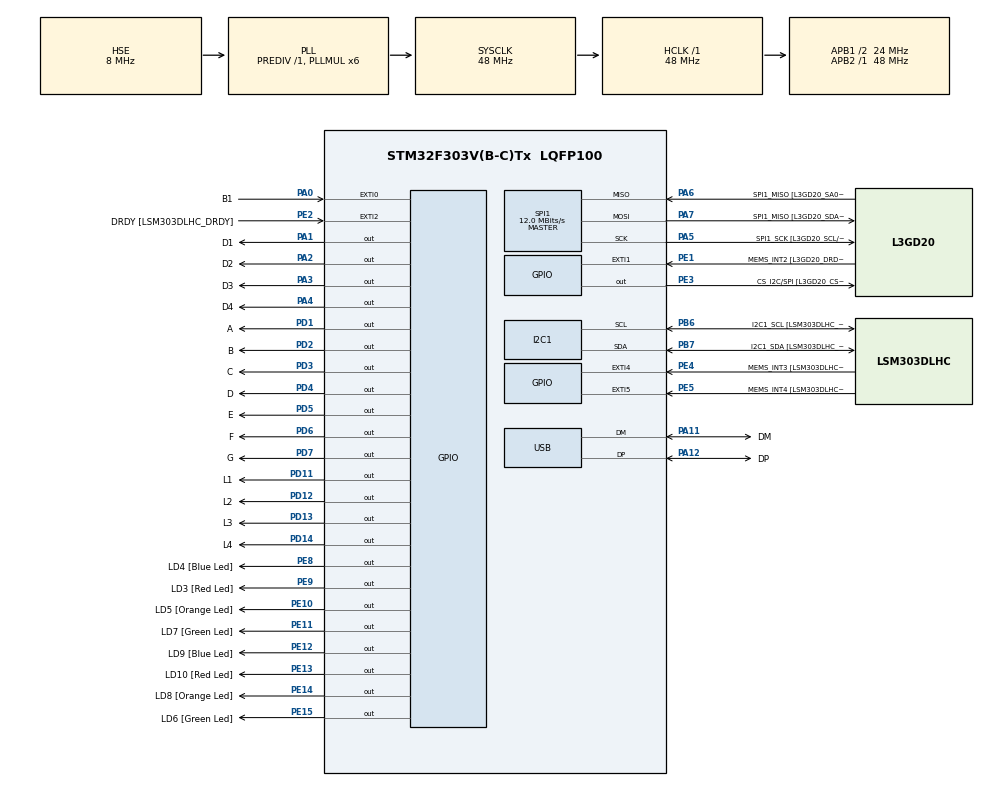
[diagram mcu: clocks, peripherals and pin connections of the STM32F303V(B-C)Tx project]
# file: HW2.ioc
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I2C1.Timing=0x2000090E
I2C1.Timing-I2C=0x2000090E
Mcu.Family=STM32F3
Mcu.Name=STM32F303V(B-C)Tx
Mcu.Package=LQFP100
NVIC.EXTI0_IRQn=true\:0\:0\:false\:false\:true\:true\:true\:true
NVIC.PriorityGroup=NVIC_PRIORITYGROUP_0
PA0.GPIO_Label=B1
PA0.GPIO_PuPd=GPIO_PULLDOWN
PA0.Signal=GPXTI0
PA1.GPIO_Label=D1
PA1.Signal=GPIO_Output
PA11.GPIO_Label=DM
PA11.Mode=Device
PA11.Signal=USB_DM
PA12.GPIO_Label=DP
PA12.Mode=Device
PA12.Signal=USB_DP
PA13.GPIO_Label=SWDIO
PA13.Mode=Serial_Wire
PA13.Signal=SYS_JTMS-SWDIO
PA14.GPIO_Label=SWCLK
PA14.Mode=Serial_Wire
PA14.Signal=SYS_JTCK-SWCLK
PA2.GPIO_Label=D2
PA2.Signal=GPIO_Output
PA3.GPIO_Label=D3
PA3.Signal=GPIO_Output
PA4.GPIO_Label=D4
PA4.Signal=GPIO_Output
PA5.GPIO_Label=SPI1_SCK [L3GD20_SCL/SPC]
PA5.Mode=Full_Duplex_Master
PA5.Signal=SPI1_SCK
PA6.GPIO_Label=SPI1_MISO [L3GD20_SA0/SDO]
PA6.Mode=Full_Duplex_Master
PA6.Signal=SPI1_MISO
PA7.GPIO_Label=SPI1_MISO [L3GD20_SDA/SDI/SDO]
PA7.Mode=Full_Duplex_Master
PA7.Signal=SPI1_MOSI
PB3.GPIO_Label=SWO
PB3.Signal=SYS_JTDO-TRACESWO
PB6.GPIO_Label=I2C1_SCL [LSM303DLHC_SCL]
PB6.GPIO_Pu=GPIO_PULLUP
PB6.Mode=I2C
PB6.Signal=I2C1_SCL
PB7.GPIO_Label=I2C1_SDA [LSM303DLHC_SDA]
PB7.GPIO_Pu=GPIO_PULLUP
PB7.Mode=I2C
PB7.Signal=I2C1_SDA
PC14-OSC32_IN.GPIO_Label=OSC32_IN
PC14-OSC32_IN.Signal=RCC_OSC32_IN
PC15-OSC32_OUT.GPIO_Label=OSC32_OUT
PC15-OSC32_OUT.Signal=RCC_OSC32_OUT
PD1.GPIO_Label=A
PD1.Signal=GPIO_Output
PD11.GPIO_Label=L1
PD11.Signal=GPIO_Output
PD12.GPIO_Label=L2
PD12.Signal=GPIO_Output
PD13.GPIO_Label=L3
PD13.Signal=GPIO_Output
PD14.GPIO_Label=L4
PD14.Signal=GPIO_Output
PD2.GPIO_Label=B
PD2.Signal=GPIO_Output
PD3.GPIO_Label=C
PD3.Signal=GPIO_Output
PD4.GPIO_Label=D
PD4.Signal=GPIO_Output
PD5.GPIO_Label=E
PD5.Signal=GPIO_Output
PD6.GPIO_Label=F
PD6.Signal=GPIO_Output
PD7.GPIO_Label=G
PD7.Signal=GPIO_Output
PE1.GPIO_Label=MEMS_INT2 [L3GD20_DRDY/INT2]
PE1.GPIO_ModeDefaultEXTI=GPIO_MODE_EVT_RISING
PE1.Signal=GPXTI1
PE10.GPIO_Label=LD5 [Orange Led]
PE10.Signal=GPIO_Output
PE11.GPIO_Label=LD7 [Green Led]
PE11.Signal=GPIO_Output
PE12.GPIO_Label=LD9 [Blue Led]
PE12.Signal=GPIO_Output
PE13.GPIO_Label=LD10 [Red Led]
PE13.Signal=GPIO_Output
PE14.GPIO_Label=LD8 [Orange Led]
PE14.Signal=GPIO_Output
PE15.GPIO_Label=LD6 [Green Led]
PE15.Signal=GPIO_Output
PE2.GPIO_Label=DRDY [LSM303DLHC_DRDY]
PE2.GPIO_ModeDefaultEXTI=GPIO_MODE_EVT_RISING
PE2.Signal=GPXTI2
PE3.GPIO_Label=CS_I2C/SPI [L3GD20_CS_I2C/SPI]
PE3.Signal=GPIO_Output
PE4.GPIO_Label=MEMS_INT3 [LSM303DLHC_INT1]
PE4.GPIO_ModeDefaultEXTI=GPIO_MODE_EVT_RISING
PE4.Signal=GPXTI4
PE5.GPIO_Label=MEMS_INT4 [LSM303DLHC_INT2]
PE5.GPIO_ModeDefaultEXTI=GPIO_MODE_EVT_RISING
PE5.Signal=GPXTI5
PE8.GPIO_Label=LD4 [Blue Led]
PE8.Signal=GPIO_Output
PE9.GPIO_Label=LD3 [Red Led]
PE9.Signal=GPIO_Output
PF0-OSC_IN.GPIO_Label=OSC_IN
PF0-OSC_IN.Mode=HSE-External-Clock-Source
PF0-OSC_IN.Signal=RCC_OSC_IN
PF1-OSC_OUT.GPIO_Label=OSC_OUT
PF1-OSC_OUT.Signal=RCC_OSC_OUT
ProjectManager.HeapSize=0x200
ProjectManager.StackSize=0x400
ProjectManager.TargetToolchain=STM32CubeIDE
RCC.AHBFreq_Value=48000000
RCC.APB1CLKDivider=RCC_HCLK_DIV2
RCC.APB1Freq_Value=24000000
RCC.APB1TimFreq_Value=48000000
RCC.APB2Freq_Value=48000000
RCC.APB2TimFreq_Value=48000000
RCC.CortexFreq_Value=48000000
RCC.HCLKFreq_Value=48000000
RCC.HSE_VALUE=8000000
RCC.HSI_VALUE=8000000
RCC.LSE_VALUE=32768
RCC.PLLMUL=RCC_PLL_MUL6
RCC.SYSCLKFreq_VALUE=48000000
RCC.SYSCLKSourceVirtual=RCC_SYSCLKSOURCE_PLLCLK
RCC.USBFreq_Value=48000000
SPI1.BaudRatePrescaler=SPI_BAUDRATEPRESCALER_4
SPI1.BaudRatePrescaler-Full_Duplex_Master=SPI_BAUDRATEPRESCALER_2
SPI1.CalculateBaudRate=12.0 MBits/s
SPI1.CalculateBaudRate-Full_Duplex_Master=24.0 MBits/s
SPI1.Direction=SPI_DIRECTION_2LINES
SPI1.Mode=SPI_MODE_MASTER
SPI1.Mode-Full_Duplex_Master=SPI_MODE_MASTER
SPI1.VirtualType=VM_MASTER
board=STM32F3DISCOVERY

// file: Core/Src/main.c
/* USER CODE BEGIN Header */
/**
  ******************************************************************************
  * @file           : main.c
  * @brief          : Main program body
  ******************************************************************************
  * @attention
  *
  * Copyright (c) 2023 STMicroelectronics.
  * All rights reserved.
  *
  * This software is licensed under terms that can be found in the LICENSE file
  * in the root directory of this software component.
  * If no LICENSE file comes with this software, it is provided AS-IS.
  *
  ******************************************************************************
  */
/* USER CODE END Header */
#include "main.h"

I2C_HandleTypeDef hi2c1;

SPI_HandleTypeDef hspi1;

PCD_HandleTypeDef hpcd_USB_FS;

/* USER CODE BEGIN PV */
int num = 0;
/* USER CODE END PV */

void SystemClock_Config(void);
static void MX_GPIO_Init(void);
static void MX_I2C1_Init(void);
static void MX_SPI1_Init(void);
static void MX_USB_PCD_Init(void);

int main(void)
{

  /* MCU Configuration--------------------------------------------------------*/

  /* Reset of all peripherals, Initializes the Flash interface and the Systick. */
  HAL_Init();

  /* Configure the system clock */
  SystemClock_Config();

  /* Initialize all configured peripherals */
  MX_GPIO_Init();
  MX_I2C1_Init();
  MX_SPI1_Init();
  MX_USB_PCD_Init();
  /* USER CODE BEGIN 2 */
 // uint16_t LED[] = {LD3_Pin,LD4_Pin,LD5_Pin,LD6_Pin,LD7_Pin,LD8_Pin,LD9_Pin,LD10_Pin,NULL};
  //uint16_t LEDC[] = {LD3_Pin,LD4_Pin,LD6_Pin,LD8_Pin,LD10_Pin,LD9_Pin,LD7_Pin,LD5_Pin,NULL};

  uint16_t LED_ALL = LD3_Pin | LD4_Pin | LD6_Pin | LD8_Pin | LD10_Pin | LD9_Pin | LD7_Pin |LD5_Pin;
  uint16_t LED_HALF = LD3_Pin | LD6_Pin  | LD10_Pin | LD7_Pin ;

  /* USER CODE END 2 */

  /* Infinite loop */
  /* USER CODE BEGIN WHILE */
  while (1)
  {
	  int n1 = num / 10 ;
	  int n2 = num % 10 ;
	  int n3 = (n1 * n2) / 10 ;
	  int n4 = (n1 * n2) % 10 ;
	  int re = num % 4 ;

	  // n1
	  HAL_GPIO_WritePin(GPIOA, D1_Pin, GPIO_PIN_RESET);
	  HAL_GPIO_WritePin(GPIOA, D2_Pin | D3_Pin | D4_Pin, GPIO_PIN_SET);
	  seg(n1);
	  HAL_Delay(5);
	  // n2
	  HAL_GPIO_WritePin(GPIOA, D2_Pin, GPIO_PIN_RESET);
	  HAL_GPIO_WritePin(GPIOA, D1_Pin | D3_Pin | D4_Pin, GPIO_PIN_SET);
	  seg(n2);
	  HAL_Delay(5);
	  // n3
	  HAL_GPIO_WritePin(GPIOA, D3_Pin, GPIO_PIN_RESET);
	  HAL_GPIO_WritePin(GPIOA, D1_Pin | D2_Pin | D4_Pin, GPIO_PIN_SET);
	  seg(n3);
	  HAL_Delay(5);
	  // n4
	  HAL_GPIO_WritePin(GPIOA, D4_Pin, GPIO_PIN_RESET);
	  HAL_GPIO_WritePin(GPIOA, D1_Pin | D2_Pin | D3_Pin, GPIO_PIN_SET);
	  seg(n4);
	  HAL_Delay(5);

	    switch(re) {
	      case 0:
	        HAL_GPIO_WritePin(GPIOD, L1_Pin, GPIO_PIN_SET);
	        HAL_GPIO_WritePin(GPIOD, L2_Pin | L3_Pin | L4_Pin, GPIO_PIN_RESET);
	        break;
	      case 1:
	        HAL_GPIO_WritePin(GPIOD, L2_Pin, GPIO_PIN_SET);
	        HAL_GPIO_WritePin(GPIOD, L1_Pin | L3_Pin | L4_Pin, GPIO_PIN_RESET);
	        break;
	      case 2:
	        HAL_GPIO_WritePin(GPIOD, L3_Pin, GPIO_PIN_SET);
	        HAL_GPIO_WritePin(GPIOD, L1_Pin | L2_Pin | L4_Pin, GPIO_PIN_RESET);
	        break;
	      case 3:
	        HAL_GPIO_WritePin(GPIOD, L4_Pin, GPIO_PIN_SET);
	        HAL_GPIO_WritePin(GPIOD, L1_Pin | L2_Pin | L3_Pin, GPIO_PIN_RESET);
	        break;
	    }
    /* USER CODE END WHILE */

  }
}

void SystemClock_Config(void)
{
  RCC_OscInitTypeDef RCC_OscInitStruct = {0};
  RCC_ClkInitTypeDef RCC_ClkInitStruct = {0};
  RCC_PeriphCLKInitTypeDef PeriphClkInit = {0};

  /** Initializes the RCC Oscillators according to the specified parameters
  * in the RCC_OscInitTypeDef structure.
  */
  RCC_OscInitStruct.OscillatorType = RCC_OSCILLATORTYPE_HSI|RCC_OSCILLATORTYPE_HSE;
  RCC_OscInitStruct.HSEState = RCC_HSE_BYPASS;
  RCC_OscInitStruct.HSEPredivValue = RCC_HSE_PREDIV_DIV1;
  RCC_OscInitStruct.HSIState = RCC_HSI_ON;
  RCC_OscInitStruct.HSICalibrationValue = RCC_HSICALIBRATION_DEFAULT;
  RCC_OscInitStruct.PLL.PLLState = RCC_PLL_ON;
  RCC_OscInitStruct.PLL.PLLSource = RCC_PLLSOURCE_HSE;
  RCC_OscInitStruct.PLL.PLLMUL = RCC_PLL_MUL6;
  if (HAL_RCC_OscConfig(&RCC_OscInitStruct) != HAL_OK)
  {
    Error_Handler();
  }

  /** Initializes the CPU, AHB and APB buses clocks
  */
  RCC_ClkInitStruct.ClockType = RCC_CLOCKTYPE_HCLK|RCC_CLOCKTYPE_SYSCLK
                              |RCC_CLOCKTYPE_PCLK1|RCC_CLOCKTYPE_PCLK2;
  RCC_ClkInitStruct.SYSCLKSource = RCC_SYSCLKSOURCE_PLLCLK;
  RCC_ClkInitStruct.AHBCLKDivider = RCC_SYSCLK_DIV1;
  RCC_ClkInitStruct.APB1CLKDivider = RCC_HCLK_DIV2;
  RCC_ClkInitStruct.APB2CLKDivider = RCC_HCLK_DIV1;

  if (HAL_RCC_ClockConfig(&RCC_ClkInitStruct, FLASH_LATENCY_1) != HAL_OK)
  {
    Error_Handler();
  }
  PeriphClkInit.PeriphClockSelection = RCC_PERIPHCLK_USB|RCC_PERIPHCLK_I2C1;
  PeriphClkInit.I2c1ClockSelection = RCC_I2C1CLKSOURCE_HSI;
  PeriphClkInit.USBClockSelection = RCC_USBCLKSOURCE_PLL;
  if (HAL_RCCEx_PeriphCLKConfig(&PeriphClkInit) != HAL_OK)
  {
    Error_Handler();
  }
}

static void MX_I2C1_Init(void)
{

  hi2c1.Instance = I2C1;
  hi2c1.Init.Timing = 0x2000090E;
  hi2c1.Init.OwnAddress1 = 0;
  hi2c1.Init.AddressingMode = I2C_ADDRESSINGMODE_7BIT;
  hi2c1.Init.DualAddressMode = I2C_DUALADDRESS_DISABLE;
  hi2c1.Init.OwnAddress2 = 0;
  hi2c1.Init.OwnAddress2Masks = I2C_OA2_NOMASK;
  hi2c1.Init.GeneralCallMode = I2C_GENERALCALL_DISABLE;
  hi2c1.Init.NoStretchMode = I2C_NOSTRETCH_DISABLE;
  if (HAL_I2C_Init(&hi2c1) != HAL_OK)
  {
    Error_Handler();
  }

  /** Configure Analogue filter
  */
  if (HAL_I2CEx_ConfigAnalogFilter(&hi2c1, I2C_ANALOGFILTER_ENABLE) != HAL_OK)
  {
    Error_Handler();
  }

  /** Configure Digital filter
  */
  if (HAL_I2CEx_ConfigDigitalFilter(&hi2c1, 0) != HAL_OK)
  {
    Error_Handler();
  }

}

static void MX_SPI1_Init(void)
{

  /* SPI1 parameter configuration*/
  hspi1.Instance = SPI1;
  hspi1.Init.Mode = SPI_MODE_MASTER;
  hspi1.Init.Direction = SPI_DIRECTION_2LINES;
  hspi1.Init.DataSize = SPI_DATASIZE_4BIT;
  hspi1.Init.CLKPolarity = SPI_POLARITY_LOW;
  hspi1.Init.CLKPhase = SPI_PHASE_1EDGE;
  hspi1.Init.NSS = SPI_NSS_SOFT;
  hspi1.Init.BaudRatePrescaler = SPI_BAUDRATEPRESCALER_4;
  hspi1.Init.FirstBit = SPI_FIRSTBIT_MSB;
  hspi1.Init.TIMode = SPI_TIMODE_DISABLE;
  hspi1.Init.CRCCalculation = SPI_CRCCALCULATION_DISABLE;
  hspi1.Init.CRCPolynomial = 7;
  hspi1.Init.CRCLength = SPI_CRC_LENGTH_DATASIZE;
  hspi1.Init.NSSPMode = SPI_NSS_PULSE_ENABLE;
  if (HAL_SPI_Init(&hspi1) != HAL_OK)
  {
    Error_Handler();
  }

}

static void MX_USB_PCD_Init(void)
{

  hpcd_USB_FS.Instance = USB;
  hpcd_USB_FS.Init.dev_endpoints = 8;
  hpcd_USB_FS.Init.speed = PCD_SPEED_FULL;
  hpcd_USB_FS.Init.phy_itface = PCD_PHY_EMBEDDED;
  hpcd_USB_FS.Init.low_power_enable = DISABLE;
  hpcd_USB_FS.Init.battery_charging_enable = DISABLE;
  if (HAL_PCD_Init(&hpcd_USB_FS) != HAL_OK)
  {
    Error_Handler();
  }

}

static void MX_GPIO_Init(void)
{
  GPIO_InitTypeDef GPIO_InitStruct = {0};

  /* GPIO Ports Clock Enable */
  __HAL_RCC_GPIOE_CLK_ENABLE();
  __HAL_RCC_GPIOC_CLK_ENABLE();
  __HAL_RCC_GPIOF_CLK_ENABLE();
  __HAL_RCC_GPIOA_CLK_ENABLE();
  __HAL_RCC_GPIOD_CLK_ENABLE();
  __HAL_RCC_GPIOB_CLK_ENABLE();

  /*Configure GPIO pin Output Level */
  HAL_GPIO_WritePin(GPIOE, CS_I2C_SPI_Pin|LD4_Pin|LD3_Pin|LD5_Pin
                          |LD7_Pin|LD9_Pin|LD10_Pin|LD8_Pin
                          |LD6_Pin, GPIO_PIN_RESET);

  /*Configure GPIO pin Output Level */
  HAL_GPIO_WritePin(GPIOA, D1_Pin|D2_Pin|D3_Pin|D4_Pin, GPIO_PIN_RESET);

  /*Configure GPIO pin Output Level */
  HAL_GPIO_WritePin(GPIOD, L1_Pin|L2_Pin|L3_Pin|L4_Pin
                          |A_Pin|B_Pin|C_Pin|D_Pin
                          |E_Pin|F_Pin|G_Pin, GPIO_PIN_RESET);

  /*Configure GPIO pins : DRDY_Pin MEMS_INT3_Pin MEMS_INT4_Pin MEMS_INT2_Pin */
  GPIO_InitStruct.Pin = DRDY_Pin|MEMS_INT3_Pin|MEMS_INT4_Pin|MEMS_INT2_Pin;
  GPIO_InitStruct.Mode = GPIO_MODE_EVT_RISING;
  GPIO_InitStruct.Pull = GPIO_NOPULL;
  HAL_GPIO_Init(GPIOE, &GPIO_InitStruct);

  /*Configure GPIO pins : CS_I2C_SPI_Pin LD4_Pin LD3_Pin LD5_Pin
                           LD7_Pin LD9_Pin LD10_Pin LD8_Pin
                           LD6_Pin */
  GPIO_InitStruct.Pin = CS_I2C_SPI_Pin|LD4_Pin|LD3_Pin|LD5_Pin
                          |LD7_Pin|LD9_Pin|LD10_Pin|LD8_Pin
                          |LD6_Pin;
  GPIO_InitStruct.Mode = GPIO_MODE_OUTPUT_PP;
  GPIO_InitStruct.Pull = GPIO_NOPULL;
  GPIO_InitStruct.Speed = GPIO_SPEED_FREQ_LOW;
  HAL_GPIO_Init(GPIOE, &GPIO_InitStruct);

  /*Configure GPIO pin : B1_Pin */
  GPIO_InitStruct.Pin = B1_Pin;
  GPIO_InitStruct.Mode = GPIO_MODE_IT_RISING;
  GPIO_InitStruct.Pull = GPIO_PULLDOWN;
  HAL_GPIO_Init(B1_GPIO_Port, &GPIO_InitStruct);

  /*Configure GPIO pins : D1_Pin D2_Pin D3_Pin D4_Pin */
  GPIO_InitStruct.Pin = D1_Pin|D2_Pin|D3_Pin|D4_Pin;
  GPIO_InitStruct.Mode = GPIO_MODE_OUTPUT_PP;
  GPIO_InitStruct.Pull = GPIO_NOPULL;
  GPIO_InitStruct.Speed = GPIO_SPEED_FREQ_LOW;
  HAL_GPIO_Init(GPIOA, &GPIO_InitStruct);

  /*Configure GPIO pins : L1_Pin L2_Pin L3_Pin L4_Pin
                           A_Pin B_Pin C_Pin D_Pin
                           E_Pin F_Pin G_Pin */
  GPIO_InitStruct.Pin = L1_Pin|L2_Pin|L3_Pin|L4_Pin
                          |A_Pin|B_Pin|C_Pin|D_Pin
                          |E_Pin|F_Pin|G_Pin;
  GPIO_InitStruct.Mode = GPIO_MODE_OUTPUT_PP;
  GPIO_InitStruct.Pull = GPIO_NOPULL;
  GPIO_InitStruct.Speed = GPIO_SPEED_FREQ_LOW;
  HAL_GPIO_Init(GPIOD, &GPIO_InitStruct);

  /* EXTI interrupt init*/
  HAL_NVIC_SetPriority(EXTI0_IRQn, 0, 0);
  HAL_NVIC_EnableIRQ(EXTI0_IRQn);

}

/* USER CODE BEGIN 4 */
void seg(int dig){
    switch(dig) {
      case 0:
        HAL_GPIO_WritePin(GPIOD, A_Pin | B_Pin | C_Pin | D_Pin | E_Pin | F_Pin, GPIO_PIN_SET);
        HAL_GPIO_WritePin(GPIOD, G_Pin, GPIO_PIN_RESET);
        break;
      case 1:
        HAL_GPIO_WritePin(GPIOD, B_Pin | C_Pin, GPIO_PIN_SET);
        HAL_GPIO_WritePin(GPIOD, A_Pin | D_Pin | E_Pin | F_Pin | G_Pin, GPIO_PIN_RESET);
        break;
      case 2:
        HAL_GPIO_WritePin(GPIOD, A_Pin | B_Pin | D_Pin | E_Pin | G_Pin, GPIO_PIN_SET);
        HAL_GPIO_WritePin(GPIOD, C_Pin | F_Pin, GPIO_PIN_RESET);
        break;
      case 3:
        HAL_GPIO_WritePin(GPIOD, A_Pin | B_Pin | C_Pin | D_Pin | G_Pin, GPIO_PIN_SET);
        HAL_GPIO_WritePin(GPIOD, E_Pin | F_Pin, GPIO_PIN_RESET);
        break;
      case 4:
        HAL_GPIO_WritePin(GPIOD, B_Pin | C_Pin | F_Pin | G_Pin, GPIO_PIN_SET);
        HAL_GPIO_WritePin(GPIOD, A_Pin | D_Pin | E_Pin, GPIO_PIN_RESET);
        break;
      case 5:
        HAL_GPIO_WritePin(GPIOD, A_Pin | C_Pin | D_Pin | F_Pin | G_Pin, GPIO_PIN_SET);
        HAL_GPIO_WritePin(GPIOD, B_Pin | E_Pin, GPIO_PIN_RESET);
        break;
      case 6:
        HAL_GPIO_WritePin(GPIOD, A_Pin | C_Pin | D_Pin | E_Pin | F_Pin | G_Pin, GPIO_PIN_SET);
        HAL_GPIO_WritePin(GPIOD, B_Pin, GPIO_PIN_RESET);
        break;
      case 7:
        HAL_GPIO_WritePin(GPIOD, A_Pin | B_Pin | C_Pin, GPIO_PIN_SET);
        HAL_GPIO_WritePin(GPIOD, D_Pin | E_Pin | F_Pin | G_Pin, GPIO_PIN_RESET);
        break;
      case 8:
        HAL_GPIO_WritePin(GPIOD, A_Pin | B_Pin | C_Pin | D_Pin | E_Pin | F_Pin | G_Pin, GPIO_PIN_SET);
        break;
      case 9:
        HAL_GPIO_WritePin(GPIOD, A_Pin | B_Pin | C_Pin | D_Pin | F_Pin | G_Pin, GPIO_PIN_SET);
        HAL_GPIO_WritePin(GPIOD, E_Pin, GPIO_PIN_RESET);
        break;
      default:
        break;
    }
  }
void HAL_GPIO_EXTI_Callback(uint16_t GPIO_Pin){
	if (GPIO_Pin == B1_Pin)
	{
		static uint32_t last = 0;
		if(HAL_GetTick() - last < 500)
			return;

		last = HAL_GetTick();
		num++;
	}
}
/* USER CODE END 4 */

void Error_Handler(void)
{
  __disable_irq();
  while (1)
  {
  }
}
